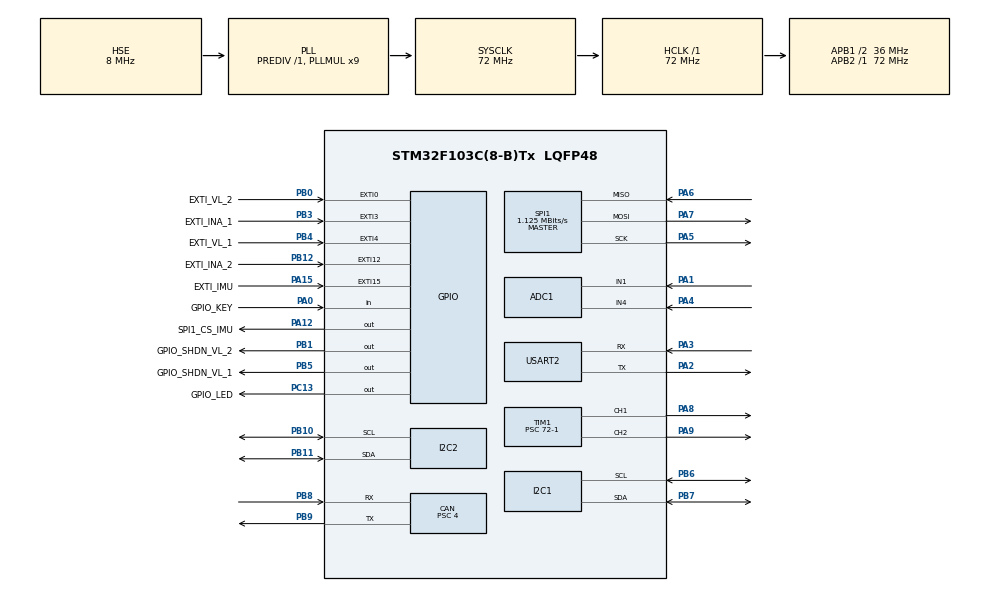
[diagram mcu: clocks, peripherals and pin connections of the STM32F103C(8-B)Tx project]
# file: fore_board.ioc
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ADC1.Channel-0\#ChannelRegularConversion=ADC_CHANNEL_1
ADC1.Channel-1\#ChannelRegularConversion=ADC_CHANNEL_4
ADC1.ExternalTrigConv=ADC_EXTERNALTRIGCONV_T3_TRGO
ADC1.NbrOfConversion=2
ADC1.NbrOfConversionFlag=1
ADC1.Rank-0\#ChannelRegularConversion=1
ADC1.Rank-1\#ChannelRegularConversion=2
ADC1.SamplingTime-0\#ChannelRegularConversion=ADC_SAMPLETIME_239CYCLES_5
ADC1.SamplingTime-1\#ChannelRegularConversion=ADC_SAMPLETIME_239CYCLES_5
ADC1.master=1
CAN.ABOM=ENABLE
CAN.BS1=CAN_BS1_15TQ
CAN.BS2=CAN_BS2_2TQ
CAN.CalculateBaudRate=500000
CAN.CalculateTimeBit=2000
CAN.CalculateTimeQuantum=111.11111111111111
CAN.NART=ENABLE
CAN.Prescaler=4
Dma.ADC1.0.Direction=DMA_PERIPH_TO_MEMORY
Dma.ADC1.0.Instance=DMA1_Channel1
Dma.ADC1.0.MemDataAlignment=DMA_MDATAALIGN_HALFWORD
Dma.ADC1.0.MemInc=DMA_MINC_ENABLE
Dma.ADC1.0.Mode=DMA_CIRCULAR
Dma.ADC1.0.PeriphDataAlignment=DMA_PDATAALIGN_HALFWORD
Dma.ADC1.0.PeriphInc=DMA_PINC_DISABLE
Dma.ADC1.0.Priority=DMA_PRIORITY_MEDIUM
Dma.Request0=ADC1
Dma.Request1=USART2_RX
Dma.USART2_RX.1.Direction=DMA_PERIPH_TO_MEMORY
Dma.USART2_RX.1.Instance=DMA1_Channel6
Dma.USART2_RX.1.MemDataAlignment=DMA_MDATAALIGN_BYTE
Dma.USART2_RX.1.MemInc=DMA_MINC_ENABLE
Dma.USART2_RX.1.Mode=DMA_CIRCULAR
Dma.USART2_RX.1.PeriphDataAlignment=DMA_PDATAALIGN_BYTE
Dma.USART2_RX.1.PeriphInc=DMA_PINC_DISABLE
Dma.USART2_RX.1.Priority=DMA_PRIORITY_HIGH
FREERTOS.Tasks01=defaultTask,24,128,StartDefaultTask,Default,NULL,Dynamic,NULL,NULL
FREERTOS.configCHECK_FOR_STACK_OVERFLOW=1
FREERTOS.configTOTAL_HEAP_SIZE=8192
FREERTOS.configUSE_NEWLIB_REENTRANT=1
FREERTOS.configUSE_TRACE_FACILITY=0
I2C1.I2C_Mode=I2C_Fast
I2C2.I2C_Mode=I2C_Fast
Mcu.Family=STM32F1
Mcu.Name=STM32F103C(8-B)Tx
Mcu.Package=LQFP48
NVIC.CAN1_RX1_IRQn=true\:5\:0\:false\:false\:true\:true\:true\:true\:true
NVIC.DMA1_Channel1_IRQn=true\:5\:0\:false\:false\:true\:true\:false\:true\:true
NVIC.DMA1_Channel6_IRQn=true\:5\:0\:false\:false\:true\:true\:false\:true\:true
NVIC.EXTI0_IRQn=true\:5\:0\:false\:false\:true\:true\:true\:true\:true
NVIC.EXTI15_10_IRQn=true\:5\:0\:false\:false\:true\:true\:true\:true\:true
NVIC.EXTI3_IRQn=true\:5\:0\:false\:false\:true\:true\:true\:true\:true
NVIC.EXTI4_IRQn=true\:5\:0\:false\:false\:true\:true\:true\:true\:true
NVIC.PriorityGroup=NVIC_PRIORITYGROUP_4
NVIC.SPI1_IRQn=true\:5\:0\:false\:false\:true\:true\:true\:true\:true
NVIC.TIM4_IRQn=true\:0\:0\:false\:false\:true\:false\:false\:true\:true
NVIC.TimeBase=TIM4_IRQn
NVIC.TimeBaseIP=TIM4
NVIC.USART2_IRQn=true\:5\:0\:false\:false\:true\:true\:true\:true\:true
NVIC.USB_HP_CAN1_TX_IRQn=true\:5\:0\:false\:false\:true\:true\:true\:true\:true
NVIC.USB_LP_CAN1_RX0_IRQn=true\:5\:0\:false\:false\:true\:true\:true\:true\:true
PA0-WKUP.GPIO_Label=GPIO_KEY
PA0-WKUP.GPIO_PuPd=GPIO_PULLUP
PA0-WKUP.Signal=GPIO_Input
PA1.Signal=ADCx_IN1
PA12.GPIO_Label=SPI1_CS_IMU
PA12.GPIO_Speed=GPIO_SPEED_FREQ_HIGH
PA12.PinState=GPIO_PIN_SET
PA12.Signal=GPIO_Output
PA13.Mode=Serial_Wire
PA13.Signal=SYS_JTMS-SWDIO
PA14.Mode=Serial_Wire
PA14.Signal=SYS_JTCK-SWCLK
PA15.GPIO_Label=EXTI_IMU
PA15.GPIO_ModeDefaultEXTI=GPIO_MODE_IT_FALLING
PA15.GPIO_PuPd=GPIO_PULLUP
PA15.Signal=GPXTI15
PA2.Mode=Asynchronous
PA2.Signal=USART2_TX
PA3.Mode=Asynchronous
PA3.Signal=USART2_RX
PA4.Signal=ADCx_IN4
PA5.Mode=Full_Duplex_Master
PA5.Signal=SPI1_SCK
PA6.Mode=Full_Duplex_Master
PA6.Signal=SPI1_MISO
PA7.Mode=Full_Duplex_Master
PA7.Signal=SPI1_MOSI
PA8.Signal=S_TIM1_CH1
PA9.Signal=S_TIM1_CH2
PB0.GPIO_Label=EXTI_VL_2
PB0.GPIO_ModeDefaultEXTI=GPIO_MODE_IT_FALLING
PB0.GPIO_PuPd=GPIO_PULLUP
PB0.Signal=GPXTI0
PB1.GPIO_Label=GPIO_SHDN_VL_2
PB1.Signal=GPIO_Output
PB10.Mode=I2C
PB10.Signal=I2C2_SCL
PB11.Mode=I2C
PB11.Signal=I2C2_SDA
PB12.GPIO_Label=EXTI_INA_2
PB12.GPIO_ModeDefaultEXTI=GPIO_MODE_IT_FALLING
PB12.GPIO_PuPd=GPIO_PULLUP
PB12.Signal=GPXTI12
PB3.GPIO_Label=EXTI_INA_1
PB3.GPIO_ModeDefaultEXTI=GPIO_MODE_IT_FALLING
PB3.GPIO_PuPd=GPIO_PULLUP
PB3.Signal=GPXTI3
PB4.GPIO_Label=EXTI_VL_1
PB4.GPIO_ModeDefaultEXTI=GPIO_MODE_IT_FALLING
PB4.GPIO_PuPd=GPIO_PULLUP
PB4.Signal=GPXTI4
PB5.GPIO_Label=GPIO_SHDN_VL_1
PB5.Signal=GPIO_Output
PB6.Mode=I2C
PB6.Signal=I2C1_SCL
PB7.Mode=I2C
PB7.Signal=I2C1_SDA
PB8.Mode=CAN_Activate
PB8.Signal=CAN_RX
PB9.Mode=CAN_Activate
PB9.Signal=CAN_TX
PC13-TAMPER-RTC.GPIO_Label=GPIO_LED
PC13-TAMPER-RTC.Signal=GPIO_Output
PC14-OSC32_IN.Mode=LSE-External-Oscillator
PC14-OSC32_IN.Signal=RCC_OSC32_IN
PC15-OSC32_OUT.Mode=LSE-External-Oscillator
PC15-OSC32_OUT.Signal=RCC_OSC32_OUT
PD0-OSC_IN.Mode=HSE-External-Oscillator
PD0-OSC_IN.Signal=RCC_OSC_IN
PD1-OSC_OUT.Mode=HSE-External-Oscillator
PD1-OSC_OUT.Signal=RCC_OSC_OUT
ProjectManager.HeapSize=0x200
ProjectManager.StackSize=0x400
ProjectManager.TargetToolchain=STM32CubeIDE
RCC.ADCPresc=RCC_ADCPCLK2_DIV6
RCC.AHBFreq_Value=72000000
RCC.APB1CLKDivider=RCC_HCLK_DIV2
RCC.APB1Freq_Value=36000000
RCC.APB1TimFreq_Value=72000000
RCC.APB2Freq_Value=72000000
RCC.APB2TimFreq_Value=72000000
RCC.HCLKFreq_Value=72000000
RCC.PLLMUL=RCC_PLL_MUL9
RCC.PLLSourceVirtual=RCC_PLLSOURCE_HSE
RCC.SYSCLKFreq_VALUE=72000000
RCC.SYSCLKSource=RCC_SYSCLKSOURCE_PLLCLK
RCC.USBFreq_Value=72000000
SH.ADCx_IN1.0=ADC1_IN1,IN1
SH.ADCx_IN4.0=ADC1_IN4,IN4
SH.S_TIM1_CH1.0=TIM1_CH1,PWM Generation1 CH1
SH.S_TIM1_CH2.0=TIM1_CH2,PWM Generation2 CH2
SPI1.BaudRatePrescaler=SPI_BAUDRATEPRESCALER_64
SPI1.CLKPhase=SPI_PHASE_1EDGE
SPI1.CLKPolarity=SPI_POLARITY_LOW
SPI1.CalculateBaudRate=1.125 MBits/s
SPI1.Direction=SPI_DIRECTION_2LINES
SPI1.Mode=SPI_MODE_MASTER
SPI1.VirtualType=VM_MASTER
TIM1.Channel-PWM\ Generation1\ CH1=TIM_CHANNEL_1
TIM1.Channel-PWM\ Generation2\ CH2=TIM_CHANNEL_2
TIM1.Period=10000-1
TIM1.Prescaler=72-1
TIM1.Pulse-PWM\ Generation1\ CH1=1500
TIM1.Pulse-PWM\ Generation2\ CH2=1500
TIM3.Period=1000-1
TIM3.Prescaler=72-1
TIM3.TIM_MasterOutputTrigger=TIM_TRGO_UPDATE
USART2.VirtualMode=VM_ASYNC
VP_FREERTOS_VS_CMSIS_V2.Mode=CMSIS_V2
VP_SYS_VS_tim4.Mode=TIM4
VP_TIM3_VS_ClockSourceINT.Mode=Internal
board=custom

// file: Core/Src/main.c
/* USER CODE BEGIN Header */
/**
  ******************************************************************************
  * @file           : main.c
  * @brief          : Main program body
  ******************************************************************************
  * @attention
  *
  * Copyright (c) 2025 STMicroelectronics.
  * All rights reserved.
  *
  * This software is licensed under terms that can be found in the LICENSE file
  * in the root directory of this software component.
  * If no LICENSE file comes with this software, it is provided AS-IS.
  *
  ******************************************************************************
  */
/* USER CODE END Header */
#include "main.h"
#include "cmsis_os.h"
#include "adc.h"
#include "can.h"
#include "dma.h"
#include "i2c.h"
#include "spi.h"
#include "tim.h"
#include "usart.h"
#include "gpio.h"

/* USER CODE BEGIN Includes */
#include "fore_board.h"

#include "can-not/can_not.h"

#include "i2c_bus_guard.h"

#include "task_range_meas.h"
#include "task_servo_power_monitor.h"
#include "task_imu.h"

/* USER CODE END Includes */

void SystemClock_Config(void);
void MX_FREERTOS_Init(void);

int main(void)
{

  /* MCU Configuration--------------------------------------------------------*/

  /* Reset of all peripherals, Initializes the Flash interface and the Systick. */
  HAL_Init();

  /* Configure the system clock */
  SystemClock_Config();

  /* Initialize all configured peripherals */
  MX_GPIO_Init();
  MX_DMA_Init();
  MX_ADC1_Init();
  MX_CAN_Init();
  MX_TIM1_Init();
  MX_I2C1_Init();
  MX_I2C2_Init();
  MX_TIM3_Init();
  MX_SPI1_Init();
  MX_USART2_UART_Init();
  /* USER CODE BEGIN 2 */
  fore_board_init();
  cant_main_init();
  i2c_mutexes_init();
  HAL_TIM_Base_Start(&htim1);

  uint32_t startup_counter = 0;
  HAL_GPIO_WritePin(GPIO_LED_GPIO_Port, GPIO_LED_Pin, GPIO_PIN_RESET);
  while (HAL_GPIO_ReadPin(GPIO_KEY_GPIO_Port, GPIO_KEY_Pin) == GPIO_PIN_RESET)
  {
	  /* Increase counter each millisecond */
	  startup_counter++;
	  HAL_Delay(1);

	  /* Toggle led each 500 ms so the whole period is one second */
	  if (startup_counter%500 == 0) HAL_GPIO_TogglePin(GPIO_LED_GPIO_Port, GPIO_LED_Pin);

	  if (startup_counter > 3000)
	  {
		  /* Special mode can be entered here */
	  }
  }

  /* USER CODE END 2 */

  /* Init scheduler */
  osKernelInitialize();  /* Call init function for freertos objects (in freertos.c) */
  MX_FREERTOS_Init();

  /* Start scheduler */
  osKernelStart();
  /* We should never get here as control is now taken by the scheduler */
  /* Infinite loop */
  while (1)
  {

  }
}

void SystemClock_Config(void)
{
  RCC_OscInitTypeDef RCC_OscInitStruct = {0};
  RCC_ClkInitTypeDef RCC_ClkInitStruct = {0};
  RCC_PeriphCLKInitTypeDef PeriphClkInit = {0};

  /** Initializes the RCC Oscillators according to the specified parameters
  * in the RCC_OscInitTypeDef structure.
  */
  RCC_OscInitStruct.OscillatorType = RCC_OSCILLATORTYPE_HSE;
  RCC_OscInitStruct.HSEState = RCC_HSE_ON;
  RCC_OscInitStruct.HSEPredivValue = RCC_HSE_PREDIV_DIV1;
  RCC_OscInitStruct.HSIState = RCC_HSI_ON;
  RCC_OscInitStruct.PLL.PLLState = RCC_PLL_ON;
  RCC_OscInitStruct.PLL.PLLSource = RCC_PLLSOURCE_HSE;
  RCC_OscInitStruct.PLL.PLLMUL = RCC_PLL_MUL9;
  if (HAL_RCC_OscConfig(&RCC_OscInitStruct) != HAL_OK)
  {
    Error_Handler();
  }

  /** Initializes the CPU, AHB and APB buses clocks
  */
  RCC_ClkInitStruct.ClockType = RCC_CLOCKTYPE_HCLK|RCC_CLOCKTYPE_SYSCLK
                              |RCC_CLOCKTYPE_PCLK1|RCC_CLOCKTYPE_PCLK2;
  RCC_ClkInitStruct.SYSCLKSource = RCC_SYSCLKSOURCE_PLLCLK;
  RCC_ClkInitStruct.AHBCLKDivider = RCC_SYSCLK_DIV1;
  RCC_ClkInitStruct.APB1CLKDivider = RCC_HCLK_DIV2;
  RCC_ClkInitStruct.APB2CLKDivider = RCC_HCLK_DIV1;

  if (HAL_RCC_ClockConfig(&RCC_ClkInitStruct, FLASH_LATENCY_2) != HAL_OK)
  {
    Error_Handler();
  }
  PeriphClkInit.PeriphClockSelection = RCC_PERIPHCLK_ADC;
  PeriphClkInit.AdcClockSelection = RCC_ADCPCLK2_DIV6;
  if (HAL_RCCEx_PeriphCLKConfig(&PeriphClkInit) != HAL_OK)
  {
    Error_Handler();
  }
}

/* USER CODE BEGIN 4 */
void HAL_GPIO_EXTI_Callback(uint16_t GPIO_Pin)
{
	exti_task_range_meas_callback(GPIO_Pin);
	exti_task_servo_power_monitor_callback(GPIO_Pin);
	exti_task_imu_callback(GPIO_Pin);
}
/* USER CODE END 4 */

void HAL_TIM_PeriodElapsedCallback(TIM_HandleTypeDef *htim)
{
  if (htim->Instance == TIM4) {
    HAL_IncTick();
  }
}

void Error_Handler(void)
{
  __disable_irq();
  while (1)
  {
  }
}

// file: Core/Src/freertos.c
/* USER CODE BEGIN Header */
/**
  ******************************************************************************
  * File Name          : freertos.c
  * Description        : Code for freertos applications
  ******************************************************************************
  * @attention
  *
  * Copyright (c) 2025 STMicroelectronics.
  * All rights reserved.
  *
  * This software is licensed under terms that can be found in the LICENSE file
  * in the root directory of this software component.
  * If no LICENSE file comes with this software, it is provided AS-IS.
  *
  ******************************************************************************
  */
/* USER CODE END Header */

#include "FreeRTOS.h"
#include "task.h"
#include "main.h"
#include "cmsis_os.h"

/* USER CODE BEGIN Includes */
#include "can-not/can_not.h"

#include "task_can_rx.h"
#include "task_can_tx.h"
#include "task_adc.h"
#include "task_servo_control.h"
#include "task_servo_power_monitor.h"
#include "task_range_meas.h"
#include "task_imu.h"
#include "task_gps.h"

/* USER CODE END Includes */

/* USER CODE BEGIN Variables */
osThreadId_t task_can_rx_handle;
const osThreadAttr_t task_can_rx_attributes = {
  .name = "task_can_rx",
  .stack_size = 64 * 4,
  .priority = (osPriority_t) osPriorityNormal,
};

osThreadId_t task_can_tx_handle;
const osThreadAttr_t task_can_tx_attributes = {
  .name = "task_can_tx",
  .stack_size = 64 * 4,
  .priority = (osPriority_t) osPriorityNormal,
};

osThreadId_t task_adc_handle;
const osThreadAttr_t task_adc_attributes = {
  .name = "task_adc",
  .stack_size = 96 * 4,
  .priority = (osPriority_t) osPriorityNormal,
};

osThreadId_t task_servo_control_handle;
const osThreadAttr_t task_servo_control_attributes = {
  .name = "task_servo_control",
  .stack_size = 64 * 4,
  .priority = (osPriority_t) osPriorityNormal,
};

osThreadId_t task_servo_power_monitor_handle;
const osThreadAttr_t task_servo_power_monitor_attributes = {
  .name = "task_servo_power_monitor",
  .stack_size = 128 * 4,
  .priority = (osPriority_t) osPriorityNormal,
};

osThreadId_t task_range_meas_handle;
const osThreadAttr_t task_range_meas_attributes = {
  .name = "task_range_meas",
  .stack_size = 128 * 4,
  .priority = (osPriority_t) osPriorityNormal,
};

osThreadId_t task_imu_handle;
const osThreadAttr_t task_imu_attributes = {
  .name = "task_imu",
  .stack_size = 256 * 4,
  .priority = (osPriority_t) osPriorityNormal,
};
osSemaphoreId_t imuIntSem;

osThreadId_t task_gps_handle;
const osThreadAttr_t task_gps_attributes = {
  .name = "task_gps",
  .stack_size = 128 * 4,
  .priority = (osPriority_t) osPriorityNormal,
};

/* USER CODE END Variables */
/* Definitions for defaultTask */
osThreadId_t defaultTaskHandle;
const osThreadAttr_t defaultTask_attributes = {
  .name = "defaultTask",
  .stack_size = 128 * 4,
  .priority = (osPriority_t) osPriorityNormal,
};

void StartDefaultTask(void *argument);

void MX_FREERTOS_Init(void); /* (MISRA C 2004 rule 8.1) */

/* Hook prototypes */
void vApplicationStackOverflowHook(xTaskHandle xTask, signed char *pcTaskName);

/* USER CODE BEGIN 4 */
void vApplicationStackOverflowHook(xTaskHandle xTask, signed char *pcTaskName)
{
   /* Run time stack overflow checking is performed if
   configCHECK_FOR_STACK_OVERFLOW is defined to 1 or 2. This hook function is
   called if a stack overflow is detected. */
}
/* USER CODE END 4 */

void MX_FREERTOS_Init(void) {
  /* USER CODE BEGIN Init */
	volatile size_t res = xPortGetFreeHeapSize();
	UNUSED(res);

	cant_freertos_init();
	res = xPortGetFreeHeapSize();
  /* USER CODE END Init */

  /* Create the thread(s) */
  /* creation of defaultTask */
  defaultTaskHandle = osThreadNew(StartDefaultTask, NULL, &defaultTask_attributes);

  /* USER CODE BEGIN RTOS_THREADS */
  res = xPortGetFreeHeapSize();

  task_can_rx_handle = osThreadNew(task_can_rx, NULL, &task_can_rx_attributes);
  res = xPortGetFreeHeapSize();

  task_can_tx_handle = osThreadNew(task_can_tx, NULL, &task_can_tx_attributes);
  res = xPortGetFreeHeapSize();

  task_adc_handle = osThreadNew(task_adc, NULL, &task_adc_attributes);
  res = xPortGetFreeHeapSize();

  task_servo_control_handle = osThreadNew(task_servo_control, NULL, &task_servo_control_attributes);
  res = xPortGetFreeHeapSize();

  task_servo_power_monitor_handle = osThreadNew(task_servo_power_monitor, NULL, &task_servo_power_monitor_attributes);
  res = xPortGetFreeHeapSize();

  task_range_meas_handle = osThreadNew(task_range_meas, NULL, &task_range_meas_attributes);
  res = xPortGetFreeHeapSize();

  imuIntSem = osSemaphoreNew(8, 0, NULL);
  res = xPortGetFreeHeapSize();
  task_imu_handle = osThreadNew(task_imu, NULL, &task_imu_attributes);
  res = xPortGetFreeHeapSize();

  task_gps_handle = osThreadNew(task_gps, NULL, &task_gps_attributes);
  res = xPortGetFreeHeapSize();

  UNUSED(res);
  /* USER CODE END RTOS_THREADS */

}

/* USER CODE BEGIN Header_StartDefaultTask */
/**
  * @brief  Function implementing the defaultTask thread.
  * @param  argument: Not used
  * @retval None
  */

volatile uint32_t task_can_rx_alive;
volatile uint32_t task_can_tx_alive;
volatile uint32_t task_adc_alive;
volatile uint32_t task_servo_control_alive;
volatile uint32_t task_servo_power_monitor_alive;
volatile uint32_t task_range_meas_alive;
volatile uint32_t task_imu_alive;
volatile uint32_t task_gps_alive;

volatile UBaseType_t task_can_rx_high_watermark;
volatile UBaseType_t task_can_tx_high_watermark;
volatile UBaseType_t task_adc_high_watermark;
volatile UBaseType_t task_servo_control_high_watermark;
volatile UBaseType_t task_servo_power_monitor_high_watermark;
volatile UBaseType_t task_range_meas_high_watermark;
volatile UBaseType_t task_imu_high_watermark;
volatile UBaseType_t task_gps_high_watermark;

/* USER CODE END Header_StartDefaultTask */
void StartDefaultTask(void *argument)
{
  /* USER CODE BEGIN StartDefaultTask */
  /* Infinite loop */
  for(;;)
  {
	  HAL_GPIO_TogglePin(GPIO_LED_GPIO_Port, GPIO_LED_Pin);

	  task_can_rx_high_watermark        = uxTaskGetStackHighWaterMark((TaskHandle_t)task_can_rx_handle);
	  task_can_tx_high_watermark		= uxTaskGetStackHighWaterMark((TaskHandle_t)task_can_tx_handle);
	  task_adc_high_watermark           = uxTaskGetStackHighWaterMark((TaskHandle_t)task_adc_handle);
	  task_servo_control_high_watermark = uxTaskGetStackHighWaterMark((TaskHandle_t)task_servo_control_handle);
	  task_servo_power_monitor_high_watermark = uxTaskGetStackHighWaterMark((TaskHandle_t)task_servo_power_monitor_handle);
	  task_range_meas_high_watermark    = uxTaskGetStackHighWaterMark((TaskHandle_t)task_range_meas_handle);
	  task_imu_high_watermark       	= uxTaskGetStackHighWaterMark((TaskHandle_t)task_imu_handle);
	  task_gps_high_watermark			= uxTaskGetStackHighWaterMark((TaskHandle_t)task_gps_handle);

	  osDelay(200);
  }
  /* USER CODE END StartDefaultTask */
}
